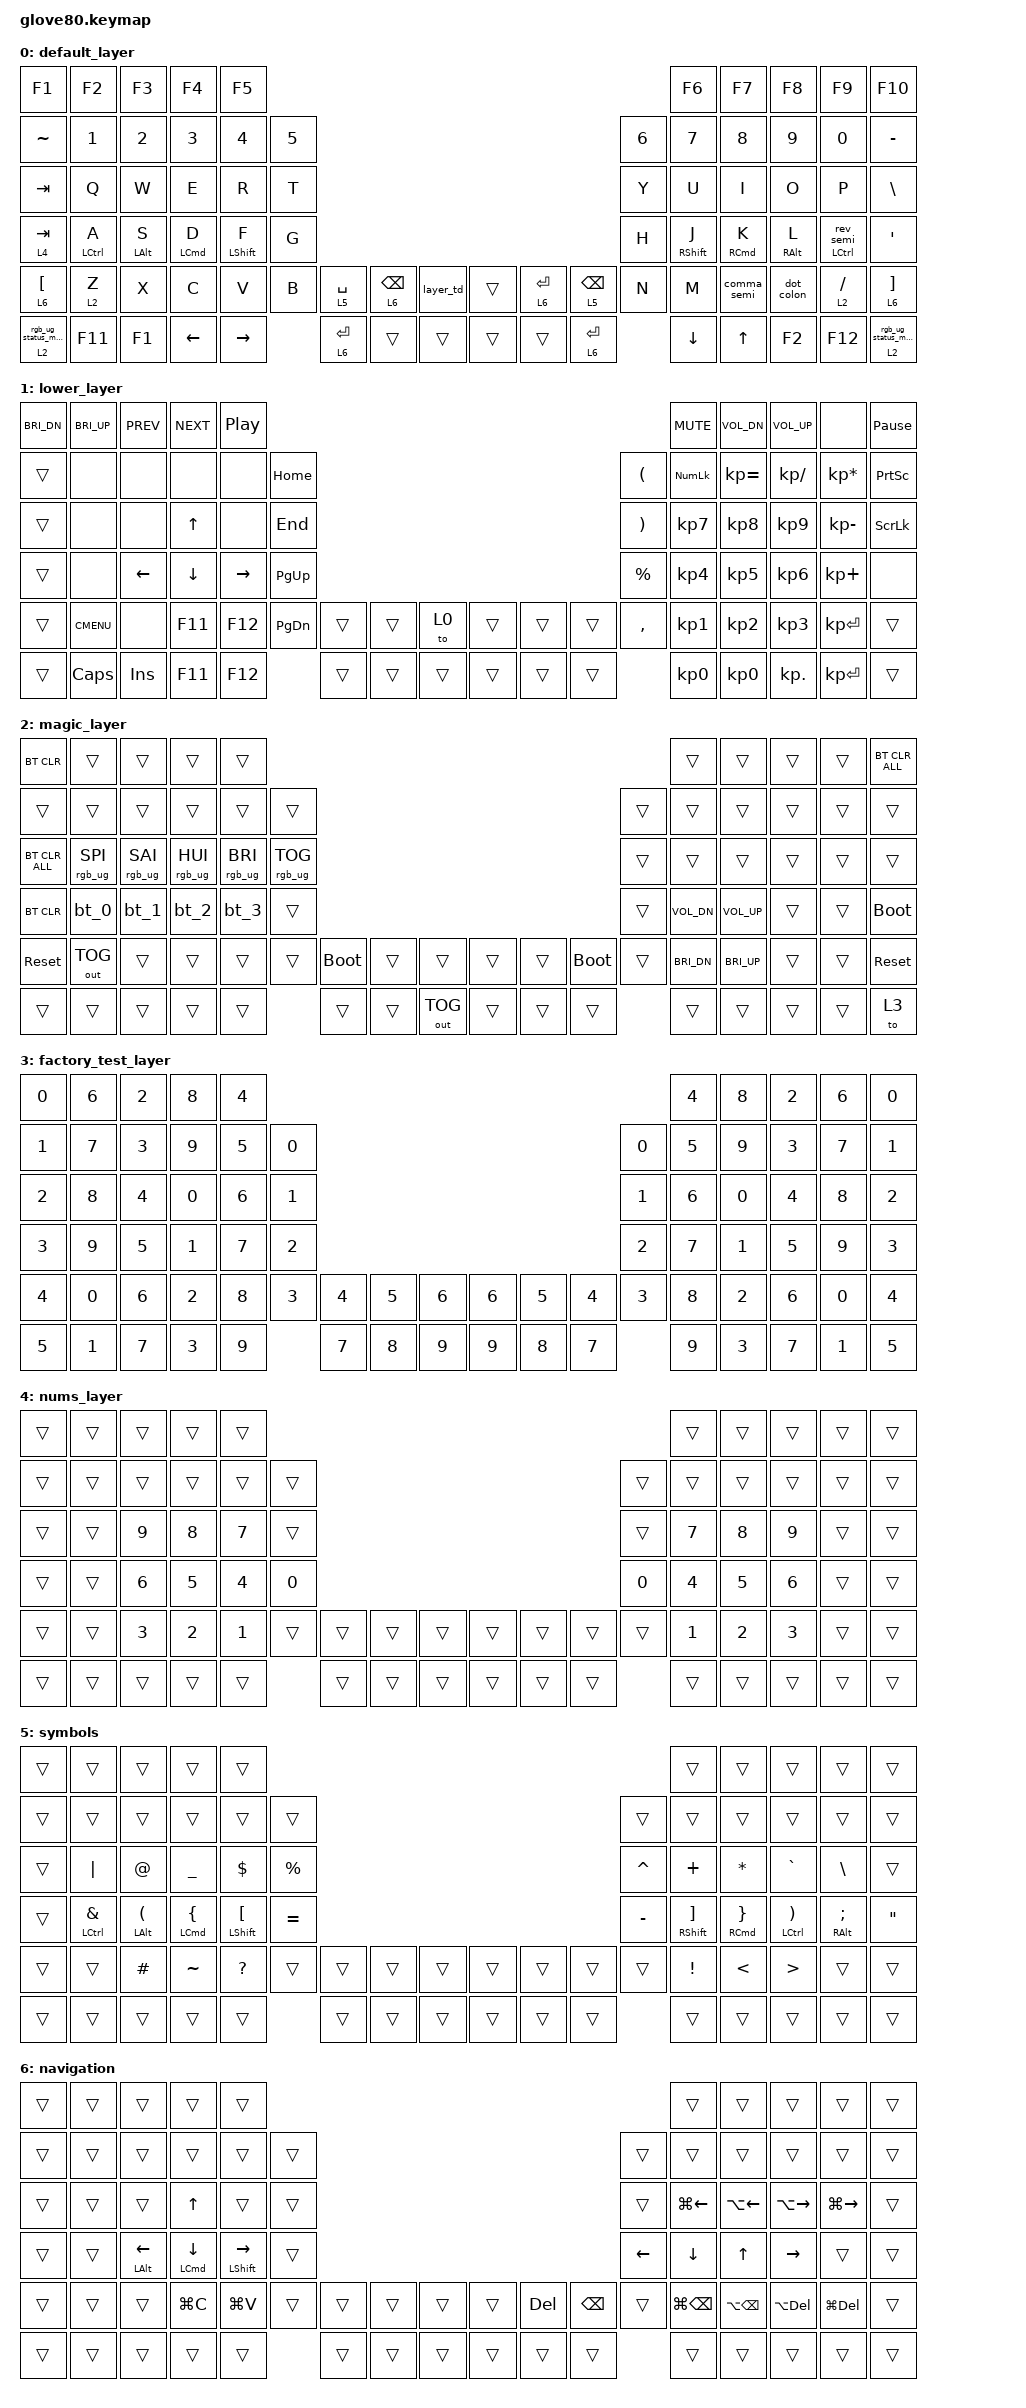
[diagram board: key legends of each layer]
/*
 * Copyright (c) 2020 The ZMK Contributors
 *
 * SPDX-License-Identifier: MIT
 */

#include <behaviors.dtsi>
#include <dt-bindings/zmk/bt.h>
#include <dt-bindings/zmk/keys.h>
#include <dt-bindings/zmk/outputs.h>
#include <dt-bindings/zmk/rgb.h>

#define HYPER LC(LS(LG(LALT)))

// layers

#define DEFAULT 0
#define LOWER 1
#define MAGIC 2
#define FACTORY_TEST 3

&mt { flavor = "tap-preferred"; };

// MOD MORPHS

/ {
    behaviors {
    };
};

// HOME ROW MODS

/ {
    behaviors {
        hml: hml {
            compatible = "zmk,behavior-hold-tap";
            bindings = <&kp>, <&kp>;

            #binding-cells = <2>;
            tapping-term-ms = <200>;
            quick-tap-ms = <175>;
            require-prior-idle-ms = <100>;
            flavor = "balanced";
            hold-trigger-on-release;
            hold-trigger-key-positions = <53 54 55 56 69 70 71 72 73 52 57 74 5 6 7 8 9 16 17 18 19 20 21 28 29 30 31 32 33 40 41 42 43 44 45 56 57 58 59 60 61 62 63 72 73 74 75 76 77 78 79>;
        };

        hmr: hmr {
            compatible = "zmk,behavior-hold-tap";
            bindings = <&kp>, <&kp>;

            #binding-cells = <2>;
            tapping-term-ms = <200>;
            quick-tap-ms = <175>;
            require-prior-idle-ms = <100>;
            flavor = "balanced";
            hold-trigger-on-release;
            hold-trigger-key-positions = <0 1 2 3 4 10 11 12 13 14 15 22 23 24 25 26 27 34 35 36 37 38 39 46 47 48 49 50 51 52 53 54 64 65 66 67 68 69 70 71 55 56 57 72 73 74>;
        };

        hmr_semi: hmr_semi {
            compatible = "zmk,behavior-hold-tap";
            bindings = <&kp>, <&rev_semi>;

            #binding-cells = <2>;
            tapping-term-ms = <200>;
            quick-tap-ms = <175>;
            require-prior-idle-ms = <100>;
            flavor = "balanced";
            hold-trigger-on-release;
            hold-trigger-key-positions = <0 1 2 3 4 10 11 12 13 14 15 22 23 24 25 26 27 34 35 36 37 38 39 46 47 48 49 50 51 52 53 54 64 65 66 67 68 69 70 71 55 56 57 72 73 74>;
        };
    };
};

/ {
    behaviors {
        // For the "layer" key, it'd nice to be able to use it as either a shift or a toggle.
        // Configure it as a tap dance, so the first tap (or hold) is a &mo and the second tap is a &to

        layer_td: tap_dance_0 {
            compatible = "zmk,behavior-tap-dance";
            label = "LAYER_TAP_DANCE";
            #binding-cells = <0>;
            tapping-term-ms = <200>;
            bindings = <&mo 1>, <&to 1>;
        };

        magic: magic_hold_tap {
            compatible = "zmk,behavior-hold-tap";
            label = "MAGIC_HOLD_TAP";
            #binding-cells = <2>;
            flavor = "tap-preferred";
            tapping-term-ms = <200>;
            bindings = <&mo>, <&rgb_ug_status_macro>;
        };

        rev_semi: rev_semi {
            compatible = "zmk,behavior-mod-morph";
            label = "REV_SEMI";
            bindings = <&kp COLON>, <&kp SEMI>;

            #binding-cells = <0>;
            mods = <(MOD_LSFT|MOD_RSFT)>;
        };

        dot_colon: dot_colon {
            compatible = "zmk,behavior-mod-morph";
            label = "DOT_COLON";
            bindings = <&kp DOT>, <&kp COLON>;

            #binding-cells = <0>;
            mods = <(MOD_LSFT|MOD_RSFT)>;
        };

        comma_semi: comma_semi {
            compatible = "zmk,behavior-mod-morph";
            label = "COMMA_SEMI";
            bindings = <&kp COMMA>, <&kp SEMI>;

            #binding-cells = <0>;
            mods = <(MOD_LSFT|MOD_RSFT)>;
        };
    };

    macros {
        rgb_ug_status_macro: rgb_ug_status_macro_0 {
            label = "RGB_UG_STATUS";
            compatible = "zmk,behavior-macro";
            #binding-cells = <0>;
            bindings = <&rgb_ug RGB_STATUS>;
        };

        bt_0: bt_profile_macro_0 {
            label = "BT_0";
            compatible = "zmk,behavior-macro";
            #binding-cells = <0>;
            bindings = <&out OUT_BLE &bt BT_SEL 0>;
        };

        bt_1: bt_profile_macro_1 {
            label = "BT_1";
            compatible = "zmk,behavior-macro";
            #binding-cells = <0>;
            bindings = <&out OUT_BLE &bt BT_SEL 1>;
        };

        bt_2: bt_profile_macro_2 {
            label = "BT_2";
            compatible = "zmk,behavior-macro";
            #binding-cells = <0>;
            bindings = <&out OUT_BLE &bt BT_SEL 2>;
        };

        bt_3: bt_profile_macro_3 {
            label = "BT_3";
            compatible = "zmk,behavior-macro";
            #binding-cells = <0>;
            bindings = <&out OUT_BLE &bt BT_SEL 3>;
        };
    };

    combos {
        compatible = "zmk,combos";

        fj_capsword {
            bindings = <&caps_word>;
            key-positions = <38 41>;
        };

        jk_combo {
            bindings = <&hmr RS(RCMD) ESC>;
            key-positions = <41 42>;
        };

        df_combo {
            bindings = <&hmr LS(LCMD) ESC>;
            key-positions = <38 37>;
        };
    };

    keymap {
        compatible = "zmk,keymap";

        default_layer {
            // ---------------------------------------------------------------------------------------------------------------------------------
            // |  F1   |  F2 |  F3 |  F4  |  F5  |                                                               |  F6   |  F7   |  F8  |   F9  |  F10 |
            // |  =    |  1  |  2  |  3   |  4   |  5   |                                                 |  6   |   7   |   8   |  9   |   0   |   -  |
            // |  TAB  |  Q  |  W  |  E   |  R   |  T   |                                                 |  Y   |   U   |   I   |  O   |   P   |   \  |
            // |  ESC  |  A  |  S  |  D   |  F   |  G   |                                                 |  H   |   J   |   K   |  L   |   ;   |   '  |
            // |   `   |  Z  |  X  |  C   |  V   |  B   | LSHFT | LCTRL | LOWER | | LGUI  | RCTRL | RSHFT |  N   |   M   |   ,   |  .   |   /   | PGUP |
            // | MAGIC | HOME| END | LEFT | RIGHT|      | BSPC  | DEL   | LALT  | | RALT  | RET   | SPACE |      |  UP   | DOWN  |  [   |   ]   | PGDN |

            bindings = <
&kp F1      &kp F2        &kp F3       &kp F4       &kp F5                                                                                           &kp F6        &kp F7       &kp F8       &kp F9             &kp F10
&kp TILDE   &kp N1        &kp N2       &kp N3       &kp N4        &kp N5                                                                     &kp N6  &kp N7        &kp N8       &kp N9       &kp N0             &kp MINUS
&kp TAB     &kp Q         &kp W        &kp E        &kp R         &kp T                                                                      &kp Y   &kp U         &kp I        &kp O        &kp P              &kp BSLH
&lt 4 TAB   &hml LCTRL A  &hml LALT S  &hml LCMD D  &hml LSHFT F  &kp G                                                                      &kp H   &hmr RSHFT J  &hmr RCMD K  &hmr RALT L  &hmr_semi LCTRL 0  &kp SQT
&lt 6 LBKT  &lt 2 Z       &kp X        &kp C        &kp V         &kp B   &lt 5 SPACE  &lt 6 BSPC  &layer_td  &trans  &lt 6 RET  &lt 5 BSPC  &kp N   &kp M         &comma_semi  &dot_colon   &lt 2 SLASH        &lt 6 RBKT
&magic 2 0  &kp F11       &kp F1       &kp LEFT     &kp RIGHT             &lt 6 RET    &trans      &trans     &trans  &trans     &lt 6 RET           &kp DOWN      &kp UP       &kp F2       &kp F12            &magic 2 0
            >;
        };

        lower_layer {
            bindings = <
&kp C_BRI_DN  &kp C_BRI_UP  &kp C_PREV  &kp C_NEXT  &kp C_PP                                                                         &kp C_MUTE  &kp C_VOL_DN  &kp C_VOL_UP   &none            &kp PAUSE_BREAK
&trans        &none         &none       &none       &none      &kp HOME                                                   &kp LPAR   &kp KP_NUM  &kp KP_EQUAL  &kp KP_DIVIDE  &kp KP_MULTIPLY  &kp PSCRN
&trans        &none         &none       &kp UP      &none      &kp END                                                    &kp RPAR   &kp KP_N7   &kp KP_N8     &kp KP_N9      &kp KP_MINUS     &kp SLCK
&trans        &none         &kp LEFT    &kp DOWN    &kp RIGHT  &kp PG_UP                                                  &kp PRCNT  &kp KP_N4   &kp KP_N5     &kp KP_N6      &kp KP_PLUS      &none
&trans        &kp K_CMENU   &none       &kp F11     &kp F12    &kp PG_DN  &trans  &trans  &to 0   &trans  &trans  &trans  &kp COMMA  &kp KP_N1   &kp KP_N2     &kp KP_N3      &kp KP_ENTER     &trans
&trans        &kp CAPS      &kp INS     &kp F11     &kp F12               &trans  &trans  &trans  &trans  &trans  &trans             &kp KP_N0   &kp KP_N0     &kp KP_DOT     &kp KP_ENTER     &trans
            >;
        };

        magic_layer {
            bindings = <
&bt BT_CLR      &trans           &trans           &trans           &trans                                                                                                    &trans        &trans        &trans  &trans  &bt BT_CLR_ALL
&trans          &trans           &trans           &trans           &trans           &trans                                                                           &trans  &trans        &trans        &trans  &trans  &trans
&bt BT_CLR_ALL  &rgb_ug RGB_SPI  &rgb_ug RGB_SAI  &rgb_ug RGB_HUI  &rgb_ug RGB_BRI  &rgb_ug RGB_TOG                                                                  &trans  &trans        &trans        &trans  &trans  &trans
&bt BT_CLR      &bt_0            &bt_1            &bt_2            &bt_3            &trans                                                                           &trans  &kp C_VOL_DN  &kp C_VOL_UP  &trans  &trans  &bootloader
&sys_reset      &out OUT_TOG     &trans           &trans           &trans           &trans           &bootloader  &trans  &trans        &trans  &trans  &bootloader  &trans  &kp C_BRI_DN  &kp C_BRI_UP  &trans  &trans  &sys_reset
&trans          &trans           &trans           &trans           &trans                            &trans       &trans  &out OUT_TOG  &trans  &trans  &trans               &trans        &trans        &trans  &trans  &to 3
            >;
        };

        factory_test_layer {
            bindings = <
&kp N0  &kp N6  &kp N2  &kp N8  &kp N4                                                                  &kp N4  &kp N8  &kp N2  &kp N6  &kp N0
&kp N1  &kp N7  &kp N3  &kp N9  &kp N5  &kp N0                                                  &kp N0  &kp N5  &kp N9  &kp N3  &kp N7  &kp N1
&kp N2  &kp N8  &kp N4  &kp N0  &kp N6  &kp N1                                                  &kp N1  &kp N6  &kp N0  &kp N4  &kp N8  &kp N2
&kp N3  &kp N9  &kp N5  &kp N1  &kp N7  &kp N2                                                  &kp N2  &kp N7  &kp N1  &kp N5  &kp N9  &kp N3
&kp N4  &kp N0  &kp N6  &kp N2  &kp N8  &kp N3  &kp N4  &kp N5  &kp N6  &kp N6  &kp N5  &kp N4  &kp N3  &kp N8  &kp N2  &kp N6  &kp N0  &kp N4
&kp N5  &kp N1  &kp N7  &kp N3  &kp N9          &kp N7  &kp N8  &kp N9  &kp N9  &kp N8  &kp N7          &kp N9  &kp N3  &kp N7  &kp N1  &kp N5
            >;
        };

        nums_layer {
            bindings = <
&trans  &trans  &trans  &trans  &trans                                                                  &trans  &trans  &trans  &trans  &trans
&trans  &trans  &trans  &trans  &trans  &trans                                                  &trans  &trans  &trans  &trans  &trans  &trans
&trans  &trans  &kp N9  &kp N8  &kp N7  &trans                                                  &trans  &kp N7  &kp N8  &kp N9  &trans  &trans
&trans  &trans  &kp N6  &kp N5  &kp N4  &kp N0                                                  &kp N0  &kp N4  &kp N5  &kp N6  &trans  &trans
&trans  &trans  &kp N3  &kp N2  &kp N1  &trans  &trans  &trans  &trans  &trans  &trans  &trans  &trans  &kp N1  &kp N2  &kp N3  &trans  &trans
&trans  &trans  &trans  &trans  &trans          &trans  &trans  &trans  &trans  &trans  &trans          &trans  &trans  &trans  &trans  &trans
            >;
        };

        symbols {
            bindings = <
&trans  &trans           &trans          &trans          &trans                                                                                    &trans            &trans          &trans           &trans          &trans
&trans  &trans           &trans          &trans          &trans            &trans                                                       &trans     &trans            &trans          &trans           &trans          &trans
&trans  &kp PIPE         &kp AT          &kp UNDER       &kp DLLR          &kp PERCENT                                                  &kp CARET  &kp PLUS          &kp STAR        &kp GRAVE        &kp BSLH        &trans
&trans  &hml LCTRL AMPS  &hml LALT LPAR  &hml LCMD LBRC  &hml LSHIFT LBKT  &kp EQUAL                                                    &kp MINUS  &hmr RSHIFT RBKT  &hmr RCMD RBRC  &hmr LCTRL RPAR  &hmr RALT SEMI  &kp DQT
&trans  &trans           &kp POUND       &kp TILDE       &kp QMARK         &trans       &trans  &trans  &trans  &trans  &trans  &trans  &trans     &kp EXCL          &kp LT          &kp GT           &trans          &trans
&trans  &trans           &trans          &trans          &trans                         &trans  &trans  &trans  &trans  &trans  &trans             &trans            &trans          &trans           &trans          &trans
            >;
        };

        navigation {
            bindings = <
&trans  &trans  &trans          &trans          &trans                                                                                 &trans        &trans        &trans         &trans         &trans
&trans  &trans  &trans          &trans          &trans            &trans                                                     &trans    &trans        &trans        &trans         &trans         &trans
&trans  &trans  &trans          &kp UP          &trans            &trans                                                     &trans    &kp LG(LEFT)  &kp LA(LEFT)  &kp LA(RIGHT)  &kp LG(RIGHT)  &trans
&trans  &trans  &hml LALT LEFT  &hml LCMD DOWN  &hml LSHFT RIGHT  &trans                                                     &kp LEFT  &kp DOWN      &kp UP        &kp RIGHT      &trans         &trans
&trans  &trans  &trans          &kp LG(C)       &kp LG(V)         &trans  &trans  &trans  &trans  &trans  &kp DEL  &kp BSPC  &trans    &kp LG(BSPC)  &kp LA(BSPC)  &kp LA(DEL)    &kp LG(DEL)    &trans
&trans  &trans  &trans          &trans          &trans                    &trans  &trans  &trans  &trans  &trans   &trans              &trans        &trans        &trans         &trans         &trans
            >;
        };
    };
};
